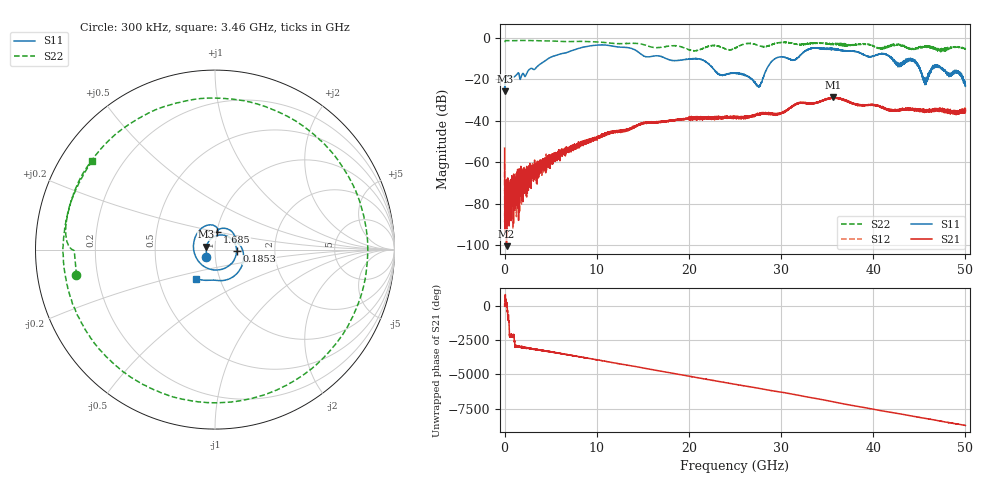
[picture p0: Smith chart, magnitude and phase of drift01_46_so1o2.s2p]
!Created with skrf (http://scikit-rf.org).
# Hz S RI R 50.0
!freq ReS11 ImS11 ReS21 ImS21 ReS12 ImS12 ReS22 ImS22
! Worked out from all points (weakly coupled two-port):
!   10001 points, 300 kHz to 50 GHz, reference 50 ohm
!   highest |S21| = -28.79 dB at 35.63 GHz (marker M1); lowest = -100.4 dB at 210.3 MHz (marker M2)
!   lowest |S11| = -25.8 dB at 5.3 MHz (marker M3), VSWR 1.11, Z = 45.3 + j1.41 ohm
!   |S11| at or under -10 dB: start of sweep to 4.768 GHz; 17.49 GHz to 29.4 GHz (11.91 GHz wide, 50.8 % of centre); 44.04 GHz to end of sweep (the widest 3 of 12)
!   |S22| runs from -6.8 to -1.4 dB; largest |S21 - S12| = 0.0035
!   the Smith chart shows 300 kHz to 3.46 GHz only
!   S11 on the Smith chart (normalised r, x): 300 kHz: 0.91, -0.08; 185.3 MHz: 1.27, -0.02; 1.685 GHz: 1.01, +0.20; 3.46 GHz: 0.77, -0.26
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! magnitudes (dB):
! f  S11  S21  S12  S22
! 300 kHz  -23.9  -53.2  -60.6  -2.1
! 5.3 MHz  -25.8  -73.8  -70.8  -2.1
! 185.3 MHz  -18.3  -69.7  -76.2  -1.5
! 210.3 MHz  -18.3  -100.4  -84.6  -1.4
! 1.685 GHz  -20.1  -67.4  -67.1  -1.4
! 3.46 GHz  -14.3  -64.9  -61.8  -1.5
! 8.335 GHz  -4.8  -50.8  -50.7  -1.8
! 16.67 GHz  -8.8  -40.5  -40.8  -4.8
! 21.16 GHz  -10.3  -38.7  -38.9  -5.9
! 25 GHz  -17.1  -38.2  -38.5  -5.2
! 27.58 GHz  -23.7  -36.6  -36.7  -3.9
! 29.27 GHz  -10.3  -37.0  -37.1  -2.8
! 31.45 GHz  -10.8  -32.3  -32.3  -3.0
! 33.34 GHz  -5.1  -31.9  -31.7  -2.7
! 35.63 GHz  -5.8  -28.8  -28.9  -3.1
! 41.67 GHz  -8.9  -34.8  -34.7  -4.5
! 42.74 GHz  -12.7  -34.8  -35.0  -3.3
! 44.42 GHz  -11.2  -34.6  -34.5  -5.2
! 45.63 GHz  -20.7  -35.4  -35.3  -4.3
! 46.88 GHz  -13.6  -35.2  -34.5  -5.4
! 49.25 GHz  -16.4  -35.6  -36.0  -4.7
! 50 GHz  -23.0  -34.5  -35.4  -5.4
